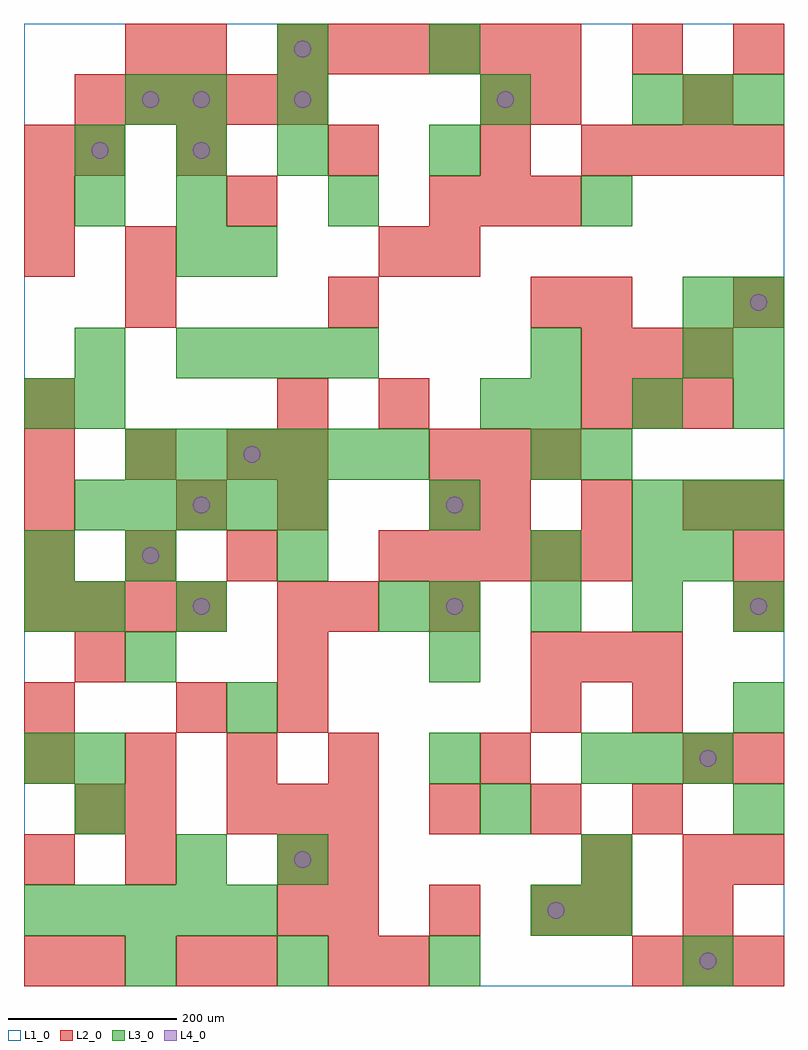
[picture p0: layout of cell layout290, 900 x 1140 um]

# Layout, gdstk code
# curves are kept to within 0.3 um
import gdstk
lib = gdstk.Library(unit=1e-6, precision=1e-09)
def R(c, l, rs):  # rectangles x0, y0, x1, y1
    for r in rs: c.add(gdstk.rectangle(r[:2], r[2:], *l))
def A(c, l, x, y, w, h, nx, ny, dx, dy):  # array of equal rectangles
    R(c, l, [(x+i*dx, y+j*dy, x+i*dx+w, y+j*dy+h) for i in range(nx) for j in range(ny)])
def P(c, l, *ps):  # polygons
    for p in ps: c.add(gdstk.Polygon(p, *l))
L1_0 = (1, 0)
L2_0 = (2, 0)
L3_0 = (3, 0)
L4_0 = (4, 0)

layout290 = lib.new_cell('layout290')
R(layout290, L1_0, [(0,0,900,1140)])
A(layout290, L2_0, 60, 0, 60, 60, 1, 3, 0, 180)
A(layout290, L2_0, 720, 0, 60, 60, 3, 1, 60, 0)
A(layout290, L2_0, 360, 60, 60, 60, 3, 1, 120, 0)
A(layout290, L2_0, 240, 180, 60, 60, 3, 1, 60, 0)
A(layout290, L2_0, 480, 180, 60, 60, 3, 1, 120, 0)
A(layout290, L2_0, 0, 240, 60, 60, 4, 1, 120, 0)
A(layout290, L2_0, 300, 300, 60, 60, 1, 3, 0, 60)
A(layout290, L2_0, 600, 360, 60, 60, 3, 1, 60, 0)
A(layout290, L2_0, 0, 420, 60, 60, 4, 1, 60, 0)
A(layout290, L2_0, 840, 420, 60, 60, 1, 3, 0, 60)
A(layout290, L2_0, 0, 480, 60, 60, 3, 2, 120, 120)
A(layout290, L2_0, 420, 480, 60, 60, 5, 1, 60, 0)
A(layout290, L2_0, 300, 540, 60, 60, 1, 3, 0, 60)
A(layout290, L2_0, 540, 540, 60, 60, 3, 1, 120, 0)
A(layout290, L2_0, 480, 600, 60, 60, 3, 1, 60, 0)
A(layout290, L2_0, 660, 660, 60, 60, 3, 2, 60, 60)
A(layout290, L2_0, 120, 780, 60, 60, 3, 1, 240, 0)
A(layout290, L2_0, 0, 900, 60, 60, 3, 1, 240, 0)
A(layout290, L2_0, 180, 960, 60, 60, 3, 1, 180, 0)
A(layout290, L2_0, 660, 960, 60, 60, 4, 1, 60, 0)
A(layout290, L2_0, 60, 1020, 60, 60, 5, 1, 60, 0)
A(layout290, L2_0, 300, 1080, 60, 60, 6, 1, 60, 0)
R(layout290, L2_0, [(0,0,60,60), (180,0,240,60), (240,0,300,60), (360,0,420,60), (420,0,480,60), (300,60,360,120), (660,60,720,120), (780,60,840,120), (0,120,60,180), (120,120,180,180), (300,120,360,180), (360,120,420,180), (660,120,720,180), (780,120,840,180), (840,120,900,180), (120,180,180,240), (540,240,600,300), (780,240,840,300), (840,240,900,300), (0,300,60,360), (180,300,240,360), (600,300,660,360), (720,300,780,360), (360,420,420,480), (480,420,540,480), (0,540,60,600), (180,540,240,600), (480,540,540,600), (0,660,60,720), (420,660,480,720), (660,780,720,840), (840,780,900,840), (0,840,60,900), (120,840,180,900), (420,840,480,900), (480,840,540,900), (540,900,600,960), (600,900,660,960), (0,960,60,1020), (60,960,120,1020), (540,1020,600,1080), (600,1020,660,1080), (780,1020,840,1080), (120,1080,180,1140), (180,1080,240,1140), (720,1080,780,1140), (840,1080,900,1140)])
A(layout290, L3_0, 120, 0, 60, 60, 3, 1, 180, 0)
A(layout290, L3_0, 0, 60, 60, 60, 5, 1, 60, 0)
A(layout290, L3_0, 660, 240, 60, 60, 3, 1, 60, 0)
A(layout290, L3_0, 480, 420, 60, 60, 4, 1, 120, 0)
A(layout290, L3_0, 600, 480, 60, 60, 1, 3, 0, 120)
A(layout290, L3_0, 60, 540, 60, 60, 5, 1, 60, 0)
A(layout290, L3_0, 720, 540, 60, 60, 3, 2, 60, 480)
A(layout290, L3_0, 120, 600, 60, 60, 6, 1, 60, 0)
A(layout290, L3_0, 600, 660, 60, 60, 3, 1, 120, 0)
A(layout290, L3_0, 180, 720, 60, 60, 4, 1, 60, 0)
A(layout290, L3_0, 60, 960, 60, 60, 3, 1, 120, 0)
R(layout290, L3_0, [(780,0,840,60), (600,60,660,120), (660,60,720,120), (180,120,240,180), (300,120,360,180), (660,120,720,180), (60,180,120,240), (540,180,600,240), (840,180,900,240), (0,240,60,300), (60,240,120,300), (480,240,540,300), (240,300,300,360), (840,300,900,360), (120,360,180,420), (480,360,540,420), (0,420,60,480), (60,420,120,480), (180,420,240,480), (420,420,480,480), (0,480,60,540), (120,480,180,540), (300,480,360,540), (720,480,780,540), (780,480,840,540), (480,540,540,600), (660,600,720,660), (0,660,60,720), (60,660,120,720), (540,660,600,720), (60,720,120,780), (780,720,840,780), (840,720,900,780), (780,780,840,840), (840,780,900,840), (180,840,240,900), (240,840,300,900), (60,900,120,960), (180,900,240,960), (360,900,420,960), (660,900,720,960), (480,960,540,1020), (120,1020,180,1080), (180,1020,240,1080), (300,1020,360,1080), (540,1020,600,1080), (300,1080,360,1140), (480,1080,540,1140)])
P(layout290, L4_0, [(100,990),(99.239,993.827),(97.071,997.071),(93.827,999.239),(90,1000),(86.173,999.239),(82.929,997.071),(80.761,993.827),(80,990),(80.761,986.173),(82.929,982.929),(86.173,980.761),(90,980),(93.827,980.761),(97.071,982.929),(99.239,986.173)],
  [(160,510),(159.239,513.827),(157.071,517.071),(153.827,519.239),(150,520),(146.173,519.239),(142.929,517.071),(140.761,513.827),(140,510),(140.761,506.173),(142.929,502.929),(146.173,500.761),(150,500),(153.827,500.761),(157.071,502.929),(159.239,506.173)],
  [(160,1050),(159.239,1053.827),(157.071,1057.071),(153.827,1059.239),(150,1060),(146.173,1059.239),(142.929,1057.071),(140.761,1053.827),(140,1050),(140.761,1046.173),(142.929,1042.929),(146.173,1040.761),(150,1040),(153.827,1040.761),(157.071,1042.929),(159.239,1046.173)],
  [(220,450),(219.239,453.827),(217.071,457.071),(213.827,459.239),(210,460),(206.173,459.239),(202.929,457.071),(200.761,453.827),(200,450),(200.761,446.173),(202.929,442.929),(206.173,440.761),(210,440),(213.827,440.761),(217.071,442.929),(219.239,446.173)],
  [(220,570),(219.239,573.827),(217.071,577.071),(213.827,579.239),(210,580),(206.173,579.239),(202.929,577.071),(200.761,573.827),(200,570),(200.761,566.173),(202.929,562.929),(206.173,560.761),(210,560),(213.827,560.761),(217.071,562.929),(219.239,566.173)],
  [(220,990),(219.239,993.827),(217.071,997.071),(213.827,999.239),(210,1000),(206.173,999.239),(202.929,997.071),(200.761,993.827),(200,990),(200.761,986.173),(202.929,982.929),(206.173,980.761),(210,980),(213.827,980.761),(217.071,982.929),(219.239,986.173)],
  [(220,1050),(219.239,1053.827),(217.071,1057.071),(213.827,1059.239),(210,1060),(206.173,1059.239),(202.929,1057.071),(200.761,1053.827),(200,1050),(200.761,1046.173),(202.929,1042.929),(206.173,1040.761),(210,1040),(213.827,1040.761),(217.071,1042.929),(219.239,1046.173)],
  [(280,630),(279.239,633.827),(277.071,637.071),(273.827,639.239),(270,640),(266.173,639.239),(262.929,637.071),(260.761,633.827),(260,630),(260.761,626.173),(262.929,622.929),(266.173,620.761),(270,620),(273.827,620.761),(277.071,622.929),(279.239,626.173)],
  [(340,150),(339.239,153.827),(337.071,157.071),(333.827,159.239),(330,160),(326.173,159.239),(322.929,157.071),(320.761,153.827),(320,150),(320.761,146.173),(322.929,142.929),(326.173,140.761),(330,140),(333.827,140.761),(337.071,142.929),(339.239,146.173)],
  [(340,1050),(339.239,1053.827),(337.071,1057.071),(333.827,1059.239),(330,1060),(326.173,1059.239),(322.929,1057.071),(320.761,1053.827),(320,1050),(320.761,1046.173),(322.929,1042.929),(326.173,1040.761),(330,1040),(333.827,1040.761),(337.071,1042.929),(339.239,1046.173)],
  [(340,1110),(339.239,1113.827),(337.071,1117.071),(333.827,1119.239),(330,1120),(326.173,1119.239),(322.929,1117.071),(320.761,1113.827),(320,1110),(320.761,1106.173),(322.929,1102.929),(326.173,1100.761),(330,1100),(333.827,1100.761),(337.071,1102.929),(339.239,1106.173)],
  [(520,450),(519.239,453.827),(517.071,457.071),(513.827,459.239),(510,460),(506.173,459.239),(502.929,457.071),(500.761,453.827),(500,450),(500.761,446.173),(502.929,442.929),(506.173,440.761),(510,440),(513.827,440.761),(517.071,442.929),(519.239,446.173)],
  [(520,570),(519.239,573.827),(517.071,577.071),(513.827,579.239),(510,580),(506.173,579.239),(502.929,577.071),(500.761,573.827),(500,570),(500.761,566.173),(502.929,562.929),(506.173,560.761),(510,560),(513.827,560.761),(517.071,562.929),(519.239,566.173)],
  [(580,1050),(579.239,1053.827),(577.071,1057.071),(573.827,1059.239),(570,1060),(566.173,1059.239),(562.929,1057.071),(560.761,1053.827),(560,1050),(560.761,1046.173),(562.929,1042.929),(566.173,1040.761),(570,1040),(573.827,1040.761),(577.071,1042.929),(579.239,1046.173)],
  [(640,90),(639.239,93.827),(637.071,97.071),(633.827,99.239),(630,100),(626.173,99.239),(622.929,97.071),(620.761,93.827),(620,90),(620.761,86.173),(622.929,82.929),(626.173,80.761),(630,80),(633.827,80.761),(637.071,82.929),(639.239,86.173)],
  [(820,30),(819.239,33.827),(817.071,37.071),(813.827,39.239),(810,40),(806.173,39.239),(802.929,37.071),(800.761,33.827),(800,30),(800.761,26.173),(802.929,22.929),(806.173,20.761),(810,20),(813.827,20.761),(817.071,22.929),(819.239,26.173)],
  [(820,270),(819.239,273.827),(817.071,277.071),(813.827,279.239),(810,280),(806.173,279.239),(802.929,277.071),(800.761,273.827),(800,270),(800.761,266.173),(802.929,262.929),(806.173,260.761),(810,260),(813.827,260.761),(817.071,262.929),(819.239,266.173)],
  [(880,450),(879.239,453.827),(877.071,457.071),(873.827,459.239),(870,460),(866.173,459.239),(862.929,457.071),(860.761,453.827),(860,450),(860.761,446.173),(862.929,442.929),(866.173,440.761),(870,440),(873.827,440.761),(877.071,442.929),(879.239,446.173)],
  [(880,810),(879.239,813.827),(877.071,817.071),(873.827,819.239),(870,820),(866.173,819.239),(862.929,817.071),(860.761,813.827),(860,810),(860.761,806.173),(862.929,802.929),(866.173,800.761),(870,800),(873.827,800.761),(877.071,802.929),(879.239,806.173)])

lib.write_gds('layout290.gds')
